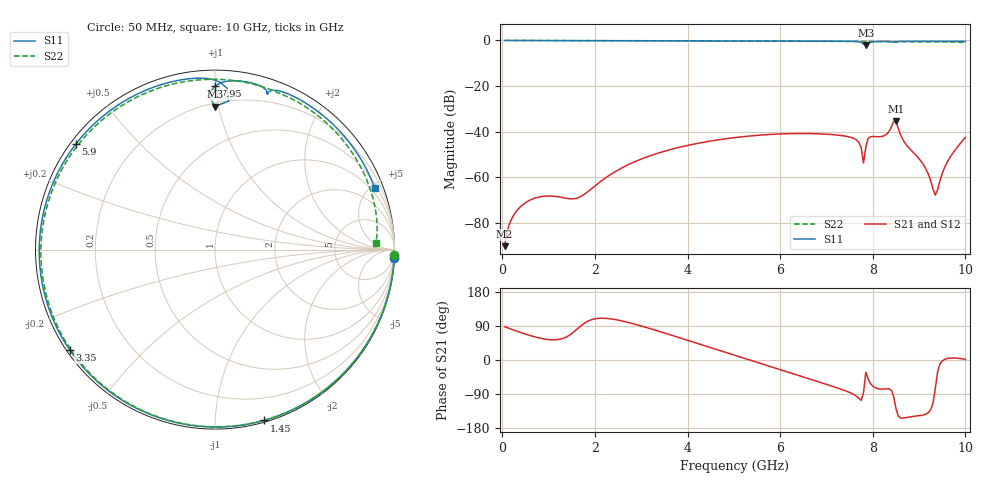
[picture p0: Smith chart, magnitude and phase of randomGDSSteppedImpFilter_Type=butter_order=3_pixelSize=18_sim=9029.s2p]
! freq	dB(S11)	phase(S11)	dB(S12)	phase(S12)
!  dB(S21)	phase(S21)	dB(S22)	phase(S22)
!S-par simulation data
#  GHz  S  DB  R 50
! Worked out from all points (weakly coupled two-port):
!   200 points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, 50 MHz to 10 GHz, reference 50 ohm
!   highest |S21| = -35.46 dB at 8.5 GHz (marker M1); lowest = -90.1 dB at 50 MHz (marker M2)
!   lowest |S11| = -2.0 dB at 7.85 GHz (marker M3), VSWR 8.84, Z = 11.1 + j48.6 ohm
!   |S11| at or under -10 dB: nowhere
!   |S22| runs from -0.9 to 0.0 dB; largest |S21 - S12| = 0
!   S11 on the Smith chart (normalised r, x): 50 MHz: 0, -42; 1.45 GHz: 0.01, -1.33; 3.35 GHz: 0.01, -0.31; 5.9 GHz: 0.02, +0.34; 7.95 GHz: 0.09, +0.99; 10 GHz: 0.69, +5.26
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0.05  -0.00 -2.8  -90.11 87.8  -90.11 87.8  -0.00 -1.8
0.65  -0.04 -34.8  -69.48 62.9  -69.48 62.9  -0.03 -23.4
1.45  -0.09 -74.0  -69.33 65.5  -69.33 65.5  -0.06 -51.5
1.75  -0.10 -87.2  -67.68 95.0  -67.68 95.0  -0.08 -61.7
2.5  -0.12 -116.7  -56.74 105.2  -56.74 105.2  -0.11 -86.7
3.35  -0.14 -145.4  -49.45 77.0  -49.45 77.0  -0.14 -113.8
3.4  -0.14 -147.0  -49.14 75.1  -49.14 75.1  -0.14 -115.4
5.05  -0.20 165.7  -42.48 11.3  -42.48 11.3  -0.24 -167.0
5.9  -0.24 142.7  -41.05 -21.7  -41.05 -21.7  -0.30 165.2
6.7  -0.27 120.7  -40.80 -52.6  -40.80 -52.6  -0.36 137.3
7.6  -0.40 92.9  -43.01 -91.8  -43.01 -91.8  -0.43 103.2
7.75  -0.90 85.7  -47.02 -106.6  -47.02 -106.6  -0.44 97.3
7.8  -1.60 84.7  -53.68 -86.5  -53.68 -86.5  -0.45 95.3
7.85  -1.97 90.1  -46.75 -32.6  -46.75 -32.6  -0.45 93.3
7.95  -0.81 90.1  -42.17 -62.2  -42.17 -62.2  -0.46 89.2
8.35  -0.49 74.1  -39.88 -75.9  -39.88 -75.9  -0.49 72.8
8.5  -0.75 71.7  -35.46 -127.7  -35.46 -127.7  -0.52 66.7
8.65  -0.38 66.5  -43.46 -153.4  -43.46 -153.4  -0.51 60.4
9.15  -0.36 49.6  -56.39 -142.6  -56.39 -142.6  -0.56 39.3
9.35  -0.37 42.9  -67.77 -75.0  -67.77 -75.0  -0.60 30.8
9.6  -0.38 34.6  -53.60 3.6  -53.60 3.6  -0.66 20.1
10  -0.41 21.2  -42.44 1.5  -42.44 1.5  -0.95 2.2
